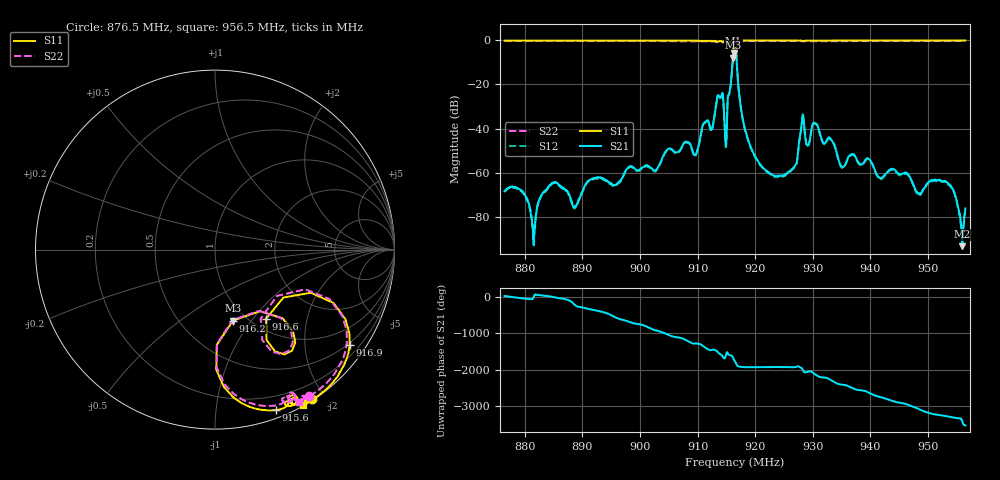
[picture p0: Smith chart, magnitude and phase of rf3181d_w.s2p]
!RF3181D
# HZ S RI R 50
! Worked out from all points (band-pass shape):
!   1601 points, 876.5 MHz to 956.5 MHz, reference 50 ohm
!   highest |S21| = -5.74 dB at 916.2 MHz (marker M1); lowest = -93.4 dB at 955.9 MHz (marker M2)
!   |S21| within 3 dB of the highest: 916.1072 MHz to 916.781 MHz (673.8 kHz wide, 0.0735 % of centre)
!   lowest |S11| = -7.8 dB at 916.2 MHz (marker M3), VSWR 2.38, Z = 43.1 - j41 ohm
!   |S11| at or under -10 dB: nowhere
!   |S22| runs from -7.8 to -0.2 dB; largest |S21 - S12| = 0.019
!   S11 on the Smith chart (normalised r, x): 876.5 MHz: 0.02, -1.84; 915.6 MHz: 0.07, -1.45; 916.2 MHz: 0.86, -0.82; 916.6 MHz: 1.17, -1.17; 916.9 MHz: 0.45, -3.09; 956.5 MHz: 0.01, -1.72
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8.765e8  0.5406 -0.8315  0.000347 0.000148  0.00034 0.000141  0.5243 -0.8152
8.815e8  0.5348 -0.8336  3.4e-05 -4.2e-06  3.84e-05 -8.8e-06  0.5189 -0.8171
8.849e8  0.5303 -0.8358  0.000599 -1.91e-05  0.00057 -1.69e-05  0.5147 -0.8185
8.8985e8  0.5244 -0.839  0.000109 0.000327  0.00011 0.000312  0.5084 -0.8207
9.032e8  0.5062 -0.8523  -0.00106 0.000878  -0.000993 0.00085  0.4901 -0.8322
9.097e8  0.4865 -0.8609  -0.00247 0.000889  -0.00232 0.000874  0.4695 -0.8403
9.139e8  0.4552 -0.8534  -0.0328 -0.0393  -0.0316 -0.0368  0.4413 -0.8305
9.149e8  0.4286 -0.8693  -0.00404 8.96e-05  -0.00376 1.07e-05  0.4131 -0.8487
9.156e8  0.3413 -0.8938  -0.0681 -0.0255  -0.0652 -0.0241  0.3299 -0.8695
9.161999e8  0.1001 -0.3958  -0.212 0.448  -0.2014 0.4427  0.0964 -0.3935
9.1625e8  0.2511 -0.3431  -0.0477 0.5143  -0.0371 0.5047  0.2443 -0.3415
9.165e8  0.3875 -0.5836  0.3852 0.2359  0.3787 0.2214  0.3711 -0.5828
9.1665e8  0.285 -0.3842  0.4957 -0.1034  0.4811 -0.1139  0.2548 -0.3843
9.1695e8  0.7504 -0.5302  -0.0225 -0.1572  -0.027 -0.1501  0.7351 -0.5149
9.185999e8  0.5869 -0.8057  -0.00423 -0.00507  -0.00413 -0.00474  0.5675 -0.7891
9.221999e8  0.5394 -0.8389  -0.000632 -0.000842  -0.000608 -0.000784  0.5204 -0.8206
9.2985e8  0.5104 -0.84  -0.00178 0.0107  -0.0015 0.0102  0.4902 -0.8226
9.351e8  0.515 -0.8518  -0.000481 0.00127  -0.000454 0.0012  0.4938 -0.8336
9.432e8  0.5049 -0.8579  0.000557 0.000983  0.000553 0.000918  0.4839 -0.8397
9.532e8  0.4947 -0.865  0.000497 -0.000361  0.000478 -0.000335  0.473 -0.846
9.5595e8  0.4924 -0.8662  -2.14e-05 3e-07  -2.83e-05 6.4e-06  0.4698 -0.8474
9.565e8  0.4921 -0.8665  4.71e-05 0.000146  3.89e-05 0.000131  0.4692 -0.8479
